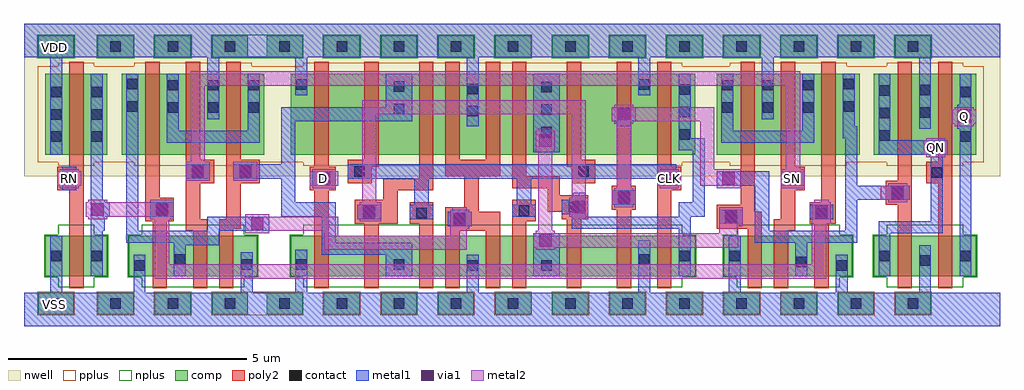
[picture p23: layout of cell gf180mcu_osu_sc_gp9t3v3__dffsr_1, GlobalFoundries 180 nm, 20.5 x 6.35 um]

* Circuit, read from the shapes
.subckt gf180mcu_osu_sc_gp9t3v3__dffsr_1 CLK D Q QN RN SN VDD VSS
XM1 n1 RN VSS VSS nfet_03v3 w=0.85u l=0.3u
XM2 n2 n1 VSS VSS nfet_03v3 w=0.85u l=0.3u
XM3 n3 SN n2 VSS nfet_03v3 w=0.85u l=0.3u
XM4 VSS n4 n3 VSS nfet_03v3 w=0.85u l=0.3u
XM5 n5 D VSS VSS nfet_03v3 w=0.85u l=0.3u
XM6 n4 n6 n5 VSS nfet_03v3 w=0.85u l=0.3u
XM7 n7 CLK n4 VSS nfet_03v3 w=0.85u l=0.3u
XM8 VSS n2 n7 VSS nfet_03v3 w=0.85u l=0.3u
XM9 n8 n2 VSS VSS nfet_03v3 w=0.85u l=0.3u
XM10 n9 CLK n8 VSS nfet_03v3 w=0.85u l=0.3u
XM11 n10 n6 n9 VSS nfet_03v3 w=0.85u l=0.3u
XM12 VSS n11 n10 VSS nfet_03v3 w=0.85u l=0.3u
XM13 n6 CLK VSS VSS nfet_03v3 w=0.85u l=0.3u
XM14 n12 n9 VSS VSS nfet_03v3 w=0.85u l=0.3u
XM15 n11 SN n12 VSS nfet_03v3 w=0.85u l=0.3u
XM16 VSS n1 n11 VSS nfet_03v3 w=0.85u l=0.3u
XM17 VSS n11 QN VSS nfet_03v3 w=0.85u l=0.3u
XM18 Q QN VSS VSS nfet_03v3 w=0.85u l=0.3u
XM19 n1 RN VDD VDD pfet_03v3 w=1.7u l=0.3u
XM20 n13 n1 n2 VDD pfet_03v3 w=1.7u l=0.3u
XM21 VDD SN n13 VDD pfet_03v3 w=1.7u l=0.3u
XM22 n13 n4 VDD VDD pfet_03v3 w=1.7u l=0.3u
XM23 n14 D VDD VDD pfet_03v3 w=1.7u l=0.3u
XM24 n4 CLK n14 VDD pfet_03v3 w=1.7u l=0.3u
XM25 n15 n6 n4 VDD pfet_03v3 w=1.7u l=0.3u
XM26 VDD n2 n15 VDD pfet_03v3 w=1.7u l=0.3u
XM27 n16 n2 VDD VDD pfet_03v3 w=1.7u l=0.3u
XM28 n9 n6 n16 VDD pfet_03v3 w=1.7u l=0.3u
XM29 n17 CLK n9 VDD pfet_03v3 w=1.7u l=0.3u
XM30 VDD n11 n17 VDD pfet_03v3 w=1.7u l=0.3u
XM31 n6 CLK VDD VDD pfet_03v3 w=1.7u l=0.3u
XM32 VDD n9 n18 VDD pfet_03v3 w=1.7u l=0.3u
XM33 n18 SN VDD VDD pfet_03v3 w=1.7u l=0.3u
XM34 n11 n1 n18 VDD pfet_03v3 w=1.7u l=0.3u
XM35 VDD n11 QN VDD pfet_03v3 w=1.7u l=0.3u
XM36 Q QN VDD VDD pfet_03v3 w=1.7u l=0.3u
.ends

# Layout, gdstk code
import gdstk
lib = gdstk.Library(unit=1e-6, precision=1e-09)
def R(c, l, rs):  # rectangles x0, y0, x1, y1
    for r in rs: c.add(gdstk.rectangle(r[:2], r[2:], *l))
def A(c, l, x, y, w, h, nx, ny, dx, dy):  # array of equal rectangles
    R(c, l, [(x+i*dx, y+j*dy, x+i*dx+w, y+j*dy+h) for i in range(nx) for j in range(ny)])
nwell = (21, 0)
comp = (22, 0)
poly2 = (30, 0)
pplus = (31, 0)
nplus = (32, 0)
contact = (33, 0)
metal1 = (34, 0)
via1 = (35, 0)
metal2 = (36, 0)

gf180mcu_osu_sc_gp9t3v3_ = lib.new_cell('gf180mcu_osu_sc_gp9t3v3__dffsr_1')
R(gf180mcu_osu_sc_gp9t3v3_, nwell, [(0,3.15,20.5,6.35)])
A(gf180mcu_osu_sc_gp9t3v3_, comp, 1.55, 0.25, 0.75, 0.45, 3, 2, 1.2, 5.4)
A(gf180mcu_osu_sc_gp9t3v3_, comp, 5.1, 0.25, 0.75, 0.45, 12, 2, 1.2, 5.4)
R(gf180mcu_osu_sc_gp9t3v3_, comp, [(0.3,0.25,1.05,0.7), (0.45,1.05,1.75,1.9), (2.2,1.05,4.9,1.9), (5.6,1.05,14.1,1.9), (14.7,1.05,17.4,1.9), (17.85,1.05,20,1.9), (0.45,3.6,1.75,5.3), (2.05,3.6,5.05,5.3), (5.6,3.6,14.1,5.3), (14.55,3.6,17.55,5.3), (17.85,3.6,20,5.3), (0.3,5.65,1.05,6.1)])
R(gf180mcu_osu_sc_gp9t3v3_, poly2, [(0.95,0.8,1.25,2.85), (2.7,0.8,3,2.2), (3.55,0.8,3.85,2), (4.1,0.8,4.4,2.05), (6.1,0.8,6.4,2.85), (7.15,0.8,7.45,2.15), (8.3,0.8,8.6,2.15), (8.85,0.8,9.15,2), (9.7,0.8,10,2), (10.25,0.8,10.55,2.2), (11.4,0.8,11.7,2.25), (12.45,0.8,12.75,2.45), (13.3,0.8,13.6,2.85), (15.2,0.8,15.5,2.05), (15.75,0.8,16.05,2), (16.6,0.8,16.9,2.15), (18.35,0.8,18.65,2.55), (19.2,0.8,19.5,3), (3.4,2,3.85,2.25), (8.85,2,10,2.4), (15.75,2,16.2,2.25), (4.1,2.05,4.55,2.25), (14.55,2.05,15.5,2.4), (6.95,2.15,7.85,2.65), (8.1,2.15,8.6,2.6), (16.5,2.15,17.05,2.6), (2.55,2.2,3.15,2.7), (10.25,2.2,10.75,2.65), (3.4,2.25,3.7,3), (4.25,2.25,4.55,3), (11.3,2.25,11.85,2.4), (15.9,2.25,16.2,2.85), (8.85,2.4,9.55,2.5), (11,2.4,11.85,2.75), (14.55,2.4,15.35,2.55), (12.35,2.45,12.85,2.95), (9.25,2.5,9.55,3.15), (15.05,2.55,15.35,5.55), (18.1,2.55,18.65,3.05), (16.75,2.6,17.05,5.55), (7.55,2.65,7.85,2.85), (2.55,2.7,2.85,5.55), (11,2.75,11.25,2.9), (0.7,2.85,1.25,3.35), (6,2.85,6.55,3.35), (7.55,2.85,8.6,3.1), (13.3,2.85,13.8,3.35), (15.9,2.85,16.4,3.35), (10.25,2.9,11.25,3.15), (12.45,2.95,12.75,5.55), (3.4,3,4,3.5), (4.25,3,4.95,3.5), (6.8,3,7.3,3.35), (11.5,3,12,3.35), (18.95,3,19.5,3.45), (18.35,3.05,18.65,5.55), (8.3,3.1,8.6,5.55), (8.85,3.15,10,3.5), (10.25,3.15,10.55,5.55), (0.95,3.35,1.25,5.55), (6.1,3.35,6.4,5.55), (6.8,3.35,7.45,3.5), (11.4,3.35,12,3.5), (13.3,3.35,13.6,5.55), (15.9,3.35,16.2,5.55), (19.2,3.45,19.5,5.55), (3.4,3.5,3.7,5.55), (4.25,3.5,4.55,5.55), (7.15,3.5,7.45,5.55), (8.85,3.5,9.15,5.55), (9.7,3.5,10,5.55), (11.4,3.5,11.7,5.55)])
A(gf180mcu_osu_sc_gp9t3v3_, pplus, 6.28, 0.23, 0.79, 0.49, 11, 1, 1.2, 0)
R(gf180mcu_osu_sc_gp9t3v3_, pplus, [(0.28,0.23,1.07,0.72), (1.53,0.23,2.32,0.72), (2.73,0.23,3.52,0.72), (3.93,0.23,5.87,0.72), (0.72,3.37,1.48,3.44), (2.32,3.37,4.78,3.44), (5.87,3.37,13.83,3.44), (14.82,3.37,17.28,3.44), (18.12,3.37,19.73,3.44), (0.29,3.44,20.16,5.46), (0.72,5.46,1.48,5.53), (2.32,5.46,4.78,5.53), (5.87,5.46,13.83,5.53), (14.82,5.46,17.28,5.53), (18.12,5.46,19.73,5.53)])
A(gf180mcu_osu_sc_gp9t3v3_, nplus, 6.28, 5.63, 0.79, 0.49, 11, 1, 1.2, 0)
R(gf180mcu_osu_sc_gp9t3v3_, nplus, [(0.72,0.82,1.48,1.03), (2.47,0.82,4.63,1.03), (5.87,0.82,13.83,1.03), (14.97,0.82,17.13,1.03), (18.12,0.82,19.73,1.03), (0.43,1.03,1.77,1.92), (2.18,1.03,4.92,1.92), (5.58,1.03,14.12,1.92), (14.68,1.03,17.42,1.92), (17.83,1.03,20.02,1.92), (0.72,1.92,1.48,2.13), (2.47,1.92,4.63,2.13), (5.87,1.92,13.83,2.13), (14.97,1.92,17.13,2.13), (18.12,1.92,19.73,2.13), (0.28,5.63,1.07,6.12), (1.53,5.63,2.32,6.12), (2.73,5.63,3.52,6.12), (3.93,5.63,5.87,6.12)])
A(gf180mcu_osu_sc_gp9t3v3_, contact, 1.815, 0.365, 0.22, 0.22, 3, 2, 1.2, 5.4)
A(gf180mcu_osu_sc_gp9t3v3_, contact, 5.365, 0.365, 0.22, 0.22, 12, 2, 1.2, 5.4)
A(gf180mcu_osu_sc_gp9t3v3_, contact, 0.565, 3.87, 0.22, 0.22, 1, 3, 0, 0.47)
A(gf180mcu_osu_sc_gp9t3v3_, contact, 1.415, 3.87, 0.22, 0.22, 1, 3, 0, 0.47)
A(gf180mcu_osu_sc_gp9t3v3_, contact, 19.665, 3.87, 0.22, 0.22, 1, 3, 0, 0.47)
A(gf180mcu_osu_sc_gp9t3v3_, contact, 17.965, 3.895, 0.22, 0.22, 1, 3, 0, 0.47)
A(gf180mcu_osu_sc_gp9t3v3_, contact, 13.765, 3.92, 0.22, 0.22, 1, 3, 0, 0.47)
A(gf180mcu_osu_sc_gp9t3v3_, contact, 10.865, 3.97, 0.22, 0.22, 1, 3, 0, 0.47)
A(gf180mcu_osu_sc_gp9t3v3_, contact, 3.015, 4.48, 0.22, 0.22, 3, 2, 0.85, 0.47)
A(gf180mcu_osu_sc_gp9t3v3_, contact, 14.665, 4.48, 0.22, 0.22, 3, 2, 0.85, 0.47)
R(gf180mcu_osu_sc_gp9t3v3_, contact, [(0.565,0.365,0.785,0.585), (2.315,1.165,2.535,1.385), (9.315,1.165,9.535,1.385), (10.865,1.165,11.085,1.385), (17.065,1.165,17.285,1.385), (4.565,1.19,4.785,1.41), (5.715,1.19,5.935,1.41), (7.765,1.19,7.985,1.41), (16.215,1.24,16.435,1.46), (18.815,1.265,19.035,1.485), (3.165,1.29,3.385,1.51), (12.915,1.29,13.135,1.51), (0.565,1.365,0.785,1.585), (1.415,1.365,1.635,1.585), (13.765,1.365,13.985,1.585), (14.815,1.365,15.035,1.585), (17.965,1.365,18.185,1.585), (19.665,1.365,19.885,1.585), (9.04,2.14,9.26,2.36), (14.74,2.19,14.96,2.41), (8.24,2.265,8.46,2.485), (16.64,2.265,16.86,2.485), (7.14,2.29,7.36,2.51), (10.39,2.315,10.61,2.535), (2.79,2.34,3.01,2.56), (11.44,2.39,11.66,2.61), (12.49,2.59,12.71,2.81), (18.24,2.69,18.46,2.91), (0.84,2.99,1.06,3.21), (6.19,2.99,6.41,3.21), (13.44,2.99,13.66,3.21), (16.04,2.99,16.26,3.21), (19.065,3.115,19.285,3.335), (3.54,3.14,3.76,3.36), (4.54,3.14,4.76,3.36), (6.94,3.14,7.16,3.36), (11.64,3.14,11.86,3.36), (18.815,4.38,19.035,4.6), (9.315,4.405,9.535,4.625), (7.765,4.455,7.985,4.675), (2.165,4.505,2.385,4.725), (17.215,4.505,17.435,4.725), (18.815,4.85,19.035,5.07), (9.315,4.875,9.535,5.095), (7.765,4.925,7.985,5.145), (5.715,4.965,5.935,5.185), (12.915,4.965,13.135,5.185), (2.165,4.975,2.385,5.195), (17.215,4.975,17.435,5.195), (0.565,5.765,0.785,5.985)])
R(gf180mcu_osu_sc_gp9t3v3_, metal1, [(0,0,20.5,0.7), (0.55,0.7,0.8,1.9), (2.3,0.7,2.55,1.5), (4.55,0.7,4.8,1.55), (5.7,0.7,5.95,1.6), (9.3,0.7,9.55,1.5), (12.9,0.7,13.15,1.8), (14.8,0.7,15.05,1.9), (17.05,0.7,17.3,1.5), (18.8,0.7,19.05,1.7), (1.4,1.05,1.65,2), (3.15,1.05,3.4,1.7), (7.6,1.05,8.15,1.5), (10.7,1.05,11.25,1.95), (13.75,1.05,14,2.05), (16.2,1.05,16.45,1.75), (17.95,1.05,18.2,1.95), (19.65,1.05,19.9,4.15), (6.25,1.5,8.15,1.75), (3.15,1.7,4.1,1.75), (2.15,1.75,4.1,2), (6.25,1.75,6.55,2.3), (15.35,1.75,17.5,2), (17.95,1.95,19.3,2.2), (1.4,2,1.7,2.3), (2.15,2,2.4,5.3), (3.85,2,5.15,2.3), (15.35,2,15.65,2.95), (17.25,2,17.5,2.65), (11.5,2.05,14,2.3), (8.9,2.1,9.4,2.4), (14.6,2.15,15.1,2.45), (19.05,2.2,19.3,3.55), (7,2.25,7.5,2.55), (8.1,2.25,8.6,2.55), (16.5,2.25,17,2.55), (1.4,2.3,1.8,2.6), (2.65,2.3,3.15,2.6), (5.4,2.3,6.55,2.6), (10.25,2.3,10.75,2.55), (11.5,2.3,11.8,2.35), (13.75,2.3,14.3,2.6), (11.3,2.35,11.8,2.65), (9,2.4,9.3,2.45), (8.2,2.55,8.5,3.1), (10.35,2.55,10.65,3.1), (12.35,2.55,12.85,2.85), (1.4,2.6,1.7,2.65), (5.4,2.6,5.7,3.1), (14.05,2.6,14.3,3.7), (1.4,2.65,1.65,5.3), (11.5,2.65,11.8,2.8), (17.25,2.65,18.6,2.95), (0.8,2.85,1.1,3.35), (6.05,2.95,6.55,3.25), (13.3,2.95,13.8,3.1), (14.55,2.95,15.65,3.25), (15.9,2.95,16.4,3.25), (17.25,2.95,17.5,3.95), (3.4,3.1,3.9,3.4), (4.4,3.1,5.7,3.4), (6.8,3.1,13.8,3.25), (6.8,3.25,13.7,3.4), (5.4,3.4,5.7,4.3), (19,3.55,19.3,3.6), (0.55,3.6,0.8,5.65), (17.95,3.6,19.4,3.9), (10.7,3.65,11.25,5.3), (13.75,3.7,14.3,3.95), (3,3.85,4.95,4.1), (14.65,3.85,16.6,4.1), (17.95,3.9,18.2,5.3), (13.75,3.95,14,5.3), (17.2,3.95,17.5,4.2), (3,4.1,3.25,5.3), (4.7,4.1,4.95,5.3), (14.65,4.1,14.9,5.3), (16.35,4.1,16.6,5.3), (18.8,4.15,19.05,5.65), (19.6,4.15,19.9,4.65), (9.3,4.2,9.55,5.65), (12.45,4.2,12.75,4.3), (17.2,4.2,17.45,5.3), (5.4,4.3,8.15,4.6), (12.35,4.3,12.85,4.6), (3.85,4.35,4.1,5.65), (15.5,4.35,15.75,5.65), (7.6,4.6,8.15,5.3), (19.65,4.65,19.9,5.3), (5.7,4.85,5.95,5.65), (12.9,4.85,13.15,5.65), (0,5.65,20.5,6.35)])
R(gf180mcu_osu_sc_gp9t3v3_, via1, [(10.82,1.67,11.08,1.93), (4.77,2.02,5.03,2.28), (9.02,2.12,9.28,2.38), (14.72,2.17,14.98,2.43), (7.12,2.27,7.38,2.53), (16.62,2.27,16.88,2.53), (1.42,2.32,1.68,2.58), (2.77,2.32,3.03,2.58), (11.52,2.37,11.78,2.63), (12.47,2.57,12.73,2.83), (18.22,2.67,18.48,2.93), (0.82,2.97,1.08,3.23), (6.17,2.97,6.43,3.23), (13.42,2.97,13.68,3.23), (14.67,2.97,14.93,3.23), (16.02,2.97,16.28,3.23), (3.52,3.12,3.78,3.38), (4.52,3.12,4.78,3.38), (19.02,3.62,19.28,3.88), (10.82,3.77,11.08,4.03), (19.62,4.27,19.88,4.53), (12.47,4.32,12.73,4.58)])
R(gf180mcu_osu_sc_gp9t3v3_, metal2, [(2.75,1,16.85,1.3), (2.75,1.3,3.05,2.25), (16.55,1.3,16.85,2.15), (6.3,1.6,9.3,1.9), (10.75,1.6,11.15,1.65), (10.7,1.65,15,1.95), (6.3,1.9,6.6,2), (8.95,1.9,9.3,2.05), (4.65,1.95,5.15,2), (10.75,1.95,11.15,2), (14.6,1.95,15,2.1), (4.65,2,6.6,2.3), (10.8,2,11.1,3.7), (8.95,2.05,9.35,2.1), (8.95,2.1,9.4,2.4), (14.6,2.1,15.1,2.5), (16.55,2.15,16.95,2.6), (7.05,2.2,7.5,2.25), (1.35,2.25,1.75,2.3), (2.65,2.25,3.15,2.3), (7,2.25,7.5,2.55), (11.5,2.25,11.8,2.3), (1.3,2.3,3.15,2.6), (4.65,2.3,5.15,2.35), (11.45,2.3,11.85,2.7), (8.95,2.4,9.35,2.45), (9,2.45,9.3,2.5), (12.4,2.5,12.8,2.55), (7.05,2.55,7.5,2.6), (12.35,2.55,12.85,2.85), (1.35,2.6,1.75,2.65), (2.65,2.6,3.15,2.65), (7.1,2.6,7.4,4.45), (16.6,2.6,16.9,2.65), (18.15,2.6,18.55,2.65), (18,2.65,18.6,2.95), (11.5,2.7,11.8,4.45), (12.4,2.85,12.8,2.9), (0.75,2.9,1.15,2.95), (6.05,2.9,6.55,2.95), (12.45,2.9,12.75,4.25), (13.35,2.9,13.75,2.95), (14.55,2.9,15.05,2.95), (15.9,2.9,16.4,3.3), (0.7,2.95,1.2,3.25), (6,2.95,6.6,3.25), (13.3,2.95,13.8,3.25), (14.2,2.95,15.05,3.3), (18.15,2.95,18.55,3), (3.4,3.05,3.9,3.45), (4.4,3.05,4.9,3.45), (0.75,3.25,1.15,3.3), (6.05,3.25,6.55,3.3), (13.35,3.25,13.75,3.3), (14.2,3.3,14.5,4.3), (16,3.3,16.3,5.05), (3.5,3.45,3.8,5.05), (18.95,3.55,19.35,3.6), (18.9,3.6,19.4,3.9), (10.75,3.7,11.15,4.1), (18.95,3.9,19.35,3.95), (10.8,4.1,11.1,4.15), (19.55,4.2,19.95,4.25), (12.4,4.25,12.8,4.3), (19.5,4.25,20,4.55), (12.35,4.3,14.5,4.6), (7.1,4.45,11.8,4.75), (19.55,4.55,19.95,4.6), (12.4,4.6,12.8,4.65), (3.5,5.05,16.3,5.35)])
gf180mcu_osu_sc_gp9t3v3_.add(gdstk.Label('D', (6.3,3.1), layer=36, texttype=10))
gf180mcu_osu_sc_gp9t3v3_.add(gdstk.Label('Q', (19.75,4.4), layer=36, texttype=10))
gf180mcu_osu_sc_gp9t3v3_.add(gdstk.Label('QN', (19.15,3.75), layer=36, texttype=10))
gf180mcu_osu_sc_gp9t3v3_.add(gdstk.Label('SN', (16.15,3.1), layer=36, texttype=10))
gf180mcu_osu_sc_gp9t3v3_.add(gdstk.Label('RN', (0.95,3.1), layer=36, texttype=10))
gf180mcu_osu_sc_gp9t3v3_.add(gdstk.Label('CLK', (13.55,3.1), layer=36, texttype=10))
gf180mcu_osu_sc_gp9t3v3_.add(gdstk.Label('VDD', (0.65,5.85), layer=34, texttype=10))
gf180mcu_osu_sc_gp9t3v3_.add(gdstk.Label('VSS', (0.65,0.45), layer=34, texttype=10))

lib.write_gds('gf180mcu_osu_sc_gp9t3v3__dffsr_1.gds')
